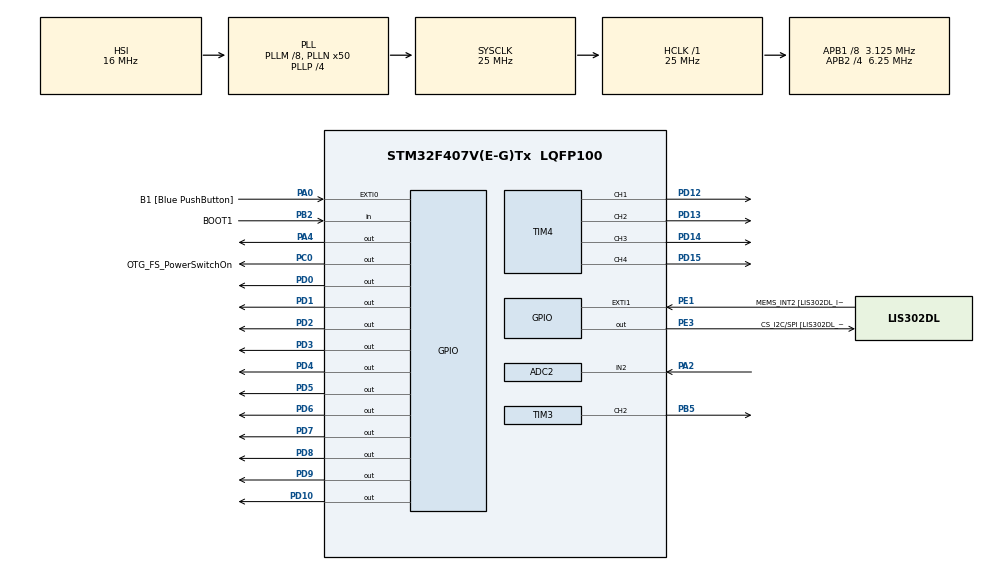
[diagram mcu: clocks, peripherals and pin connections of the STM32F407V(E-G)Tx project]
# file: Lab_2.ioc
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ADC2.Channel-0\#ChannelRegularConversion=ADC_CHANNEL_2
ADC2.ExternalTrigConv=ADC_EXTERNALTRIGCONV_T2_TRGO
ADC2.NbrOfConversionFlag=1
ADC2.Rank-0\#ChannelRegularConversion=1
ADC2.Resolution=ADC_RESOLUTION_8B
ADC2.SamplingTime-0\#ChannelRegularConversion=ADC_SAMPLETIME_3CYCLES
Mcu.Family=STM32F4
Mcu.Name=STM32F407V(E-G)Tx
Mcu.Package=LQFP100
NVIC.PriorityGroup=NVIC_PRIORITYGROUP_0
NVIC.TIM2_IRQn=true\:0\:0\:false\:false\:true
PA0-WKUP.GPIO_Label=B1 [Blue PushButton]
PA0-WKUP.GPIO_ModeDefaultEXTI=GPIO_MODE_EVT_RISING
PA0-WKUP.GPIO_PuPd=GPIO_NOPULL
PA0-WKUP.Signal=GPXTI0
PA10.GPIO_Label=OTG_FS_ID
PA10.GPIO_Mode=GPIO_MODE_AF_PP
PA10.GPIO_PuPd=GPIO_NOPULL
PA10.GPIO_Speed=GPIO_SPEED_FREQ_LOW
PA10.Signal=USB_OTG_FS_ID
PA11.GPIO_Label=OTG_FS_DM
PA11.GPIO_Mode=GPIO_MODE_AF_PP
PA11.GPIO_PuPd=GPIO_NOPULL
PA11.GPIO_Speed=GPIO_SPEED_FREQ_LOW
PA11.Signal=USB_OTG_FS_DM
PA12.GPIO_Label=OTG_FS_DP
PA12.GPIO_Mode=GPIO_MODE_AF_PP
PA12.GPIO_PuPd=GPIO_NOPULL
PA12.GPIO_Speed=GPIO_SPEED_FREQ_LOW
PA12.Signal=USB_OTG_FS_DP
PA13.GPIO_Label=SWDIO
PA13.Signal=SYS_JTMS-SWDIO
PA14.GPIO_Label=SWCLK
PA14.Signal=SYS_JTCK-SWCLK
PA2.Signal=ADCx_IN2
PA4.Signal=GPIO_Output
PA5.GPIO_Label=SPI1_SCK [LIS302DL_SCL/SPC]
PA5.GPIO_Mode=GPIO_MODE_AF_PP
PA5.GPIO_PuPd=GPIO_NOPULL
PA5.GPIO_Speed=GPIO_SPEED_FREQ_LOW
PA5.Signal=SPI1_SCK
PA6.GPIO_Label=SPI1_MISO [LIS302DL_SDO]
PA6.GPIO_Mode=GPIO_MODE_AF_PP
PA6.GPIO_PuPd=GPIO_NOPULL
PA6.GPIO_Speed=GPIO_SPEED_FREQ_LOW
PA6.Signal=SPI1_MISO
PA7.GPIO_Label=SPI1_MOSI [LIS302DL_SDA/SDI/SDO]
PA7.GPIO_Mode=GPIO_MODE_AF_PP
PA7.GPIO_PuPd=GPIO_NOPULL
PA7.GPIO_Speed=GPIO_SPEED_FREQ_LOW
PA7.Signal=SPI1_MOSI
PA9.GPIO_Label=VBUS_FS
PA9.GPIO_Mode=GPIO_MODE_INPUT
PA9.GPIO_PuPd=GPIO_NOPULL
PA9.Signal=USB_OTG_FS_VBUS
PB10.GPIO_Label=CLK_IN [MP45DT02_CLK]
PB10.GPIO_Mode=GPIO_MODE_AF_PP
PB10.GPIO_PuPd=GPIO_NOPULL
PB10.GPIO_Speed=GPIO_SPEED_FREQ_LOW
PB10.Signal=I2S2_CK
PB2.GPIO_Label=BOOT1
PB2.GPIO_Mode=GPIO_MODE_INPUT
PB2.GPIO_PuPd=GPIO_NOPULL
PB2.Signal=GPIO_Input
PB3.GPIO_Label=SWO
PB3.Signal=SYS_JTDO-SWO
PB5.Signal=S_TIM3_CH2
PC0.GPIO_Label=OTG_FS_PowerSwitchOn
PC0.GPIO_PuPd=GPIO_NOPULL
PC0.GPIO_Speed=GPIO_SPEED_FREQ_LOW
PC0.PinState=GPIO_PIN_SET
PC0.Signal=GPIO_Output
PC10.GPIO_Label=I2S3_SCK [CS43L22_SCLK]
PC10.GPIO_Mode=GPIO_MODE_AF_PP
PC10.GPIO_PuPd=GPIO_NOPULL
PC10.GPIO_Speed=GPIO_SPEED_FREQ_LOW
PC10.Signal=I2S3_CK
PC12.GPIO_Label=I2S3_SD [CS43L22_SDIN]
PC12.GPIO_Mode=GPIO_MODE_AF_PP
PC12.GPIO_PuPd=GPIO_NOPULL
PC12.GPIO_Speed=GPIO_SPEED_FREQ_LOW
PC12.Signal=I2S3_SD
PC14-OSC32_IN.GPIO_Label=PC14-OSC32_IN
PC14-OSC32_IN.Signal=RCC_OSC32_IN
PC15-OSC32_OUT.GPIO_Label=PC15-OSC32_OUT
PC15-OSC32_OUT.Signal=RCC_OSC32_OUT
PC3.GPIO_Label=PDM_OUT [MP45DT02_DOUT]
PC3.GPIO_Mode=GPIO_MODE_AF_PP
PC3.GPIO_PuPd=GPIO_NOPULL
PC3.GPIO_Speed=GPIO_SPEED_FREQ_LOW
PC3.Signal=I2S2_SD
PC7.GPIO_Label=I2S3_MCK [CS43L22_MCLK]
PC7.GPIO_Mode=GPIO_MODE_AF_PP
PC7.GPIO_PuPd=GPIO_NOPULL
PC7.GPIO_Speed=GPIO_SPEED_FREQ_LOW
PC7.Signal=I2S3_MCK
PD0.Signal=GPIO_Output
PD1.Signal=GPIO_Output
PD10.Signal=GPIO_Output
PD12.Signal=S_TIM4_CH1
PD13.Signal=S_TIM4_CH2
PD14.Signal=S_TIM4_CH3
PD15.Signal=S_TIM4_CH4
PD2.Signal=GPIO_Output
PD3.Signal=GPIO_Output
PD4.Signal=GPIO_Output
PD5.Signal=GPIO_Output
PD6.Signal=GPIO_Output
PD7.Signal=GPIO_Output
PD8.Signal=GPIO_Output
PD9.Signal=GPIO_Output
PE1.GPIO_Label=MEMS_INT2 [LIS302DL_INT2]
PE1.GPIO_ModeDefaultEXTI=GPIO_MODE_EVT_RISING
PE1.GPIO_PuPd=GPIO_NOPULL
PE1.Signal=GPXTI1
PE3.GPIO_Label=CS_I2C/SPI [LIS302DL_CS_I2C/SPI]
PE3.GPIO_PuPd=GPIO_NOPULL
PE3.GPIO_Speed=GPIO_SPEED_FREQ_LOW
PE3.Signal=GPIO_Output
PH0-OSC_IN.GPIO_Label=PH0-OSC_IN
PH0-OSC_IN.Signal=RCC_OSC_IN
PH1-OSC_OUT.GPIO_Label=PH1-OSC_OUT
PH1-OSC_OUT.Signal=RCC_OSC_OUT
ProjectManager.HeapSize=0x200
ProjectManager.StackSize=0x400
ProjectManager.TargetToolchain=MDK-ARM V5
RCC.48MHZClocksFreq_Value=14285714.285714285
RCC.AHBFreq_Value=25000000
RCC.APB1CLKDivider=RCC_HCLK_DIV8
RCC.APB1Freq_Value=3125000
RCC.APB1TimFreq_Value=6250000
RCC.APB2CLKDivider=RCC_HCLK_DIV4
RCC.APB2Freq_Value=6250000
RCC.APB2TimFreq_Value=12500000
RCC.CortexFreq_Value=25000000
RCC.HCLKFreq_Value=25000000
RCC.HSE_VALUE=8000000
RCC.HSI_VALUE=16000000
RCC.LSE_VALUE=32768
RCC.PLLM=8
RCC.PLLN=50
RCC.PLLP=RCC_PLLP_DIV4
RCC.PLLQ=7
RCC.SYSCLKFreq_VALUE=25000000
RCC.SYSCLKSource=RCC_SYSCLKSOURCE_PLLCLK
RCC.VCOOutputFreq_Value=100000000
SH.ADCx_IN2.0=ADC2_IN2,IN2
SH.S_TIM3_CH2.0=TIM3_CH2,PWM Generation2 CH2
SH.S_TIM4_CH1.0=TIM4_CH1,PWM Generation1 CH1
SH.S_TIM4_CH2.0=TIM4_CH2,PWM Generation2 CH2
SH.S_TIM4_CH3.0=TIM4_CH3,PWM Generation3 CH3
SH.S_TIM4_CH4.0=TIM4_CH4,PWM Generation4 CH4
TIM2.Period=10
TIM2.Prescaler=6250
TIM2.TIM_MasterOutputTrigger=TIM_TRGO_UPDATE
TIM3.Channel-PWM\ Generation2\ CH2=TIM_CHANNEL_2
TIM4.Channel-PWM\ Generation1\ CH1=TIM_CHANNEL_1
TIM4.Channel-PWM\ Generation2\ CH2=TIM_CHANNEL_2
TIM4.Channel-PWM\ Generation3\ CH3=TIM_CHANNEL_3
TIM4.Channel-PWM\ Generation4\ CH4=TIM_CHANNEL_4
VP_TIM2_VS_ClockSourceINT.Mode=Internal
VP_TIM3_VS_ClockSourceINT.Mode=Internal
board=STM32F4DISCOVERY

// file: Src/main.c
/**
  ******************************************************************************
  * File Name          : main.c
  * Description        : Main program body
  ******************************************************************************
  ** This notice applies to any and all portions of this file
  * that are not between comment pairs USER CODE BEGIN and
  * USER CODE END. Other portions of this file, whether
  * inserted by the user or by software development tools
  * are owned by their respective copyright owners.
  *
  * COPYRIGHT(c) 2017 STMicroelectronics
  *
  * Redistribution and use in source and binary forms, with or without modification,
  * are permitted provided that the following conditions are met:
  *   1. Redistributions of source code must retain the above copyright notice,
  *      this list of conditions and the following disclaimer.
  *   2. Redistributions in binary form must reproduce the above copyright notice,
  *      this list of conditions and the following disclaimer in the documentation
  *      and/or other materials provided with the distribution.
  *   3. Neither the name of STMicroelectronics nor the names of its contributors
  *      may be used to endorse or promote products derived from this software
  *      without specific prior written permission.
  *
  * THIS SOFTWARE IS PROVIDED BY THE COPYRIGHT HOLDERS AND CONTRIBUTORS "AS IS"
  * AND ANY EXPRESS OR IMPLIED WARRANTIES, INCLUDING, BUT NOT LIMITED TO, THE
  * IMPLIED WARRANTIES OF MERCHANTABILITY AND FITNESS FOR A PARTICULAR PURPOSE ARE
  * DISCLAIMED. IN NO EVENT SHALL THE COPYRIGHT HOLDER OR CONTRIBUTORS BE LIABLE
  * FOR ANY DIRECT, INDIRECT, INCIDENTAL, SPECIAL, EXEMPLARY, OR CONSEQUENTIAL
  * DAMAGES (INCLUDING, BUT NOT LIMITED TO, PROCUREMENT OF SUBSTITUTE GOODS OR
  * SERVICES; LOSS OF USE, DATA, OR PROFITS; OR BUSINESS INTERRUPTION) HOWEVER
  * CAUSED AND ON ANY THEORY OF LIABILITY, WHETHER IN CONTRACT, STRICT LIABILITY,
  * OR TORT (INCLUDING NEGLIGENCE OR OTHERWISE) ARISING IN ANY WAY OUT OF THE USE
  * OF THIS SOFTWARE, EVEN IF ADVISED OF THE POSSIBILITY OF SUCH DAMAGE.
  *
  ******************************************************************************
  */
#include "main.h"
#include "stm32f4xx_hal.h"
#include "adc.h"
#include "tim.h"
#include "gpio.h"

/* USER CODE BEGIN PV */
/* Private variables ---------------------------------------------------------*/

	// CONSTANT VALUE FOR THE REFERENCE VOLTAGE OF THE ADC.
	double vREF = 3.0;

	// THIS VARIABLE KEEPS TRACK OF THE CURRENT ADC SAMPLE.
	int currentADCValue;

	// THIS VARIABLE KEEPS TRACK OF THE CURRENT MEASURED VOLTAGE (AFTER DAC CONVERSION).
	double currentAnalogVoltage;

	// CONSTANT VALUE FOR THE SIZE OF THE WINDOW.
	int windowSize = 1000;

	// BUFFER FOR THE LAST N SAMPLES, WHERE N IS THE WINDOW SIZE.
	double buffer[1000];

	// FLAG THAT KEEP TRACK OF WHETHER OR NOT THE BUFFER IS FULL (0 = NO, 1 = YES).
	int bufferFull = 0;

	// THIS VARIABLE KEEPS TRACK OF THE ACCUMULATOR VALUE FOR THE PAST N SAMPLES, WHERE N IS THE WINDOW SIZE.
	double accumulator;

	// THIS VARIABLE KEEPS TRACK OF THE SAMPLE NUMBER. IT GETS RESET AFTER EACH N SAMPLES, WHERE N IS THE WINDOW SIZE.
  int sampleCounter = 0;

	// THIS VARIABLE KEEPS TRACK OF WHEN TO TOGGLE THE SQUARE WAVE. IT GETS RESET EVERY 10 MS.
  int squareWaveCounter = 0;

	// THIS VARIABLE KEEPS TRACK OF WHICH DIGIT OF THE LED DISPLAY SHOULD BE LIT UP.
	int digitCounter = 0;

	// THIS ARRAY KEEPS TRACK OF THE VALUE OF THE THREE DIGITS TO DISPLAY (IN THE FORMAT X.XX).
  int digitArray[3] = {1,2,3};

	// THIS VARIABLE KEEPS TRACK OF THE CURRENT MEASURED VALUE OF THE RMS VOLTAGE.
	double vRMS;

/* USER CODE END PV */

void SystemClock_Config(void);

/* USER CODE BEGIN PFP */
/* Private function prototypes -----------------------------------------------*/

/* USER CODE END PFP */

int main(void)
{

  /* MCU Configuration----------------------------------------------------------*/

  /* Reset of all peripherals, Initializes the Flash interface and the Systick. */
  HAL_Init();

  /* Configure the system clock */
  SystemClock_Config();

  /* Initialize all configured peripherals */
  MX_GPIO_Init();
  MX_ADC2_Init();
  MX_TIM2_Init();
  MX_TIM3_Init();
  MX_TIM4_Init();

  /* USER CODE BEGIN 2 */
	HAL_TIM_PWM_Start(&htim4,TIM_CHANNEL_2);
	// Step (1): Start the Timer as interrupt.
	HAL_TIM_Base_Start_IT(&htim2);
  HAL_TIM_Base_Start_IT(&htim3);
	// Step (2): Start the ADC.
	HAL_ADC_Start(&hadc2);

  /* USER CODE END 2 */

  /* Infinite loop */
  while (1)
  {

  }

}

/** System Clock Configuration
*/
void SystemClock_Config(void)
{

  RCC_OscInitTypeDef RCC_OscInitStruct;
  RCC_ClkInitTypeDef RCC_ClkInitStruct;

    /**Configure the main internal regulator output voltage
    */
  __HAL_RCC_PWR_CLK_ENABLE();

  __HAL_PWR_VOLTAGESCALING_CONFIG(PWR_REGULATOR_VOLTAGE_SCALE1);

    /**Initializes the CPU, AHB and APB busses clocks
    */
  RCC_OscInitStruct.OscillatorType = RCC_OSCILLATORTYPE_HSI;
  RCC_OscInitStruct.HSIState = RCC_HSI_ON;
  RCC_OscInitStruct.HSICalibrationValue = 16;
  RCC_OscInitStruct.PLL.PLLState = RCC_PLL_ON;
  RCC_OscInitStruct.PLL.PLLSource = RCC_PLLSOURCE_HSI;
  RCC_OscInitStruct.PLL.PLLM = 8;
  RCC_OscInitStruct.PLL.PLLN = 50;
  RCC_OscInitStruct.PLL.PLLP = RCC_PLLP_DIV4;
  RCC_OscInitStruct.PLL.PLLQ = 7;
  if (HAL_RCC_OscConfig(&RCC_OscInitStruct) != HAL_OK)
  {
    _Error_Handler(__FILE__, __LINE__);
  }

    /**Initializes the CPU, AHB and APB busses clocks
    */
  RCC_ClkInitStruct.ClockType = RCC_CLOCKTYPE_HCLK|RCC_CLOCKTYPE_SYSCLK
                              |RCC_CLOCKTYPE_PCLK1|RCC_CLOCKTYPE_PCLK2;
  RCC_ClkInitStruct.SYSCLKSource = RCC_SYSCLKSOURCE_PLLCLK;
  RCC_ClkInitStruct.AHBCLKDivider = RCC_SYSCLK_DIV1;
  RCC_ClkInitStruct.APB1CLKDivider = RCC_HCLK_DIV8;
  RCC_ClkInitStruct.APB2CLKDivider = RCC_HCLK_DIV4;

  if (HAL_RCC_ClockConfig(&RCC_ClkInitStruct, FLASH_LATENCY_0) != HAL_OK)
  {
    _Error_Handler(__FILE__, __LINE__);
  }

    /**Configure the Systick interrupt time
    */
  HAL_SYSTICK_Config(HAL_RCC_GetHCLKFreq()/1000);

    /**Configure the Systick
    */
  HAL_SYSTICK_CLKSourceConfig(SYSTICK_CLKSOURCE_HCLK);

  /* SysTick_IRQn interrupt configuration */
  HAL_NVIC_SetPriority(SysTick_IRQn, 0, 0);
}

/* USER CODE BEGIN 4 */

void HAL_ADC_ConvCpltCallback(ADC_HandleTypeDef* hadc)
{

}

void HAL_TIM_PeriodElapsedCallback(TIM_HandleTypeDef *htim)
{
	// TIMER 2: This gets called every 1 ms.
  if(htim == &htim2)
  {
		// Get the previous sample of the ADC (since ADC conversion is in process).
		currentADCValue = HAL_ADC_GetValue(&hadc2);

		// Check for unexpected spikes and prevent them if they occur.
		currentADCValue = preventUnexpectedSpike(currentADCValue);

		// Convert the ADC value to an analog value.
		double voltageValue = (currentADCValue * vREF) / 255;

		// If the buffer has not been filled...
		if((sampleCounter < windowSize) && (bufferFull == 0))
		{
			// 1. Update the accumalor.
			accumulator += voltageValue * voltageValue;

			// 2. Check for accumulator overflow or underflow and prevent them if they occur.
			accumulator = preventAccumulatorOverflowOrUnderflow(accumulator, windowSize * vREF * vREF);

			// 3. Update the buffer.
			buffer[sampleCounter] = voltageValue;
		}
		// Otherwise if the buffer has been filled...
		else
		{
			// 1. Update the accumalor.
			accumulator = accumulator - (buffer[sampleCounter] * buffer[sampleCounter]) + (voltageValue * voltageValue);

			// 2. Check for accumulator overflow or underflow and prevent them if they occur.
			accumulator = preventAccumulatorOverflowOrUnderflow(accumulator, windowSize * vREF * vREF);

			// 3. Update the buffer.
			buffer[sampleCounter] = voltageValue;
		}

		// Increment the sample counter.
		sampleCounter++;

		// If the sample counter has reached the window size, set the bufferFull flag to 1 and reset the counter.
		if(sampleCounter == windowSize)
		{
			bufferFull = 1;
			sampleCounter = 0;
		}

		// Every N ms, where N is the window size, compute a new RMS voltage and update the array that contains the digits to be displayed.
		if(sampleCounter == 0)
		{
			vRMS = sqrt(accumulator / windowSize);
			printf("RMS Voltage: %f\n", vRMS);

			// The RMS voltage has the form A.BCDEF...
			// Retrive digit A and put it in digitArray[0].
			digitArray[0] = (int) vRMS;

			// Retrive digit B and put it in digitArray[1].
			digitArray[1] = ((int)(vRMS * 10)) % 10;

			// Retrive digit C and put it in digitArray[2].
			digitArray[2] = ((int)(vRMS * 100)) % 10;
		}
  }
	// TIMER 3: This gets called every 5 ms.
  else if(htim == &htim3)
  {
		// Generate a 50 Hz square wave with an amplitude of 3V.
    squareWaveCounter = (squareWaveCounter + 1) % 2;
    if(squareWaveCounter == 0)
    {
      HAL_GPIO_TogglePin(GPIOA, GPIO_PIN_4);
    }

    // Refresh the segment display and update the digit counter.
    displayNumberOnTrgtDigit(digitArray[digitCounter], (digitCounter + 1) );
    digitCounter = (digitCounter + 1) % 3;
  }
}

// This function prevents unexpected spike in input value.
int preventUnexpectedSpike(int currentADCValue)
{
		if(currentADCValue < 0)
		{
			return 0;
		}
		else if(currentADCValue > 255)
		{
			return 255;
		}
		else
		{
			return currentADCValue;
		}
}

// This function prevents accumulator overflow/underflow.
double preventAccumulatorOverflowOrUnderflow(double accumulator, double maxValue)
{
	if(accumulator < 0)
	{
		return 0;
	}
	else if(accumulator > maxValue)
	{
		return maxValue;
	}
	else
	{
		return accumulator;
	}
}

// This function selects the provided number to be lit up (selects the right segments of the 7-segment display).
void displayNumberOn7Segment(int number)
{
    switch(number)
    {
      case 0:
        HAL_GPIO_WritePin(GPIOD, GPIO_PIN_0, GPIO_PIN_SET); //A
        HAL_GPIO_WritePin(GPIOD, GPIO_PIN_1, GPIO_PIN_SET); //B
        HAL_GPIO_WritePin(GPIOD, GPIO_PIN_2, GPIO_PIN_SET); //C
        HAL_GPIO_WritePin(GPIOD, GPIO_PIN_3, GPIO_PIN_SET); //D
        HAL_GPIO_WritePin(GPIOD, GPIO_PIN_4, GPIO_PIN_SET); //E
        HAL_GPIO_WritePin(GPIOD, GPIO_PIN_5, GPIO_PIN_SET); //F
        HAL_GPIO_WritePin(GPIOD, GPIO_PIN_6, GPIO_PIN_RESET); //G
        break;

      case 1:
        HAL_GPIO_WritePin(GPIOD, GPIO_PIN_0, GPIO_PIN_RESET); //A
        HAL_GPIO_WritePin(GPIOD, GPIO_PIN_1, GPIO_PIN_SET); //B
        HAL_GPIO_WritePin(GPIOD, GPIO_PIN_2, GPIO_PIN_SET); //C
        HAL_GPIO_WritePin(GPIOD, GPIO_PIN_3, GPIO_PIN_RESET); //D
        HAL_GPIO_WritePin(GPIOD, GPIO_PIN_4, GPIO_PIN_RESET); //E
        HAL_GPIO_WritePin(GPIOD, GPIO_PIN_5, GPIO_PIN_RESET); //F
        HAL_GPIO_WritePin(GPIOD, GPIO_PIN_6, GPIO_PIN_RESET); //G
        break;

      case 2:
        HAL_GPIO_WritePin(GPIOD, GPIO_PIN_0, GPIO_PIN_SET); //A
        HAL_GPIO_WritePin(GPIOD, GPIO_PIN_1, GPIO_PIN_SET); //B
        HAL_GPIO_WritePin(GPIOD, GPIO_PIN_2, GPIO_PIN_RESET); //C
        HAL_GPIO_WritePin(GPIOD, GPIO_PIN_3, GPIO_PIN_SET); //D
        HAL_GPIO_WritePin(GPIOD, GPIO_PIN_4, GPIO_PIN_SET); //E
        HAL_GPIO_WritePin(GPIOD, GPIO_PIN_5, GPIO_PIN_RESET); //F
        HAL_GPIO_WritePin(GPIOD, GPIO_PIN_6, GPIO_PIN_SET); //G
        break;

      case 3:
        HAL_GPIO_WritePin(GPIOD, GPIO_PIN_0, GPIO_PIN_SET); //A
        HAL_GPIO_WritePin(GPIOD, GPIO_PIN_1, GPIO_PIN_SET); //B
        HAL_GPIO_WritePin(GPIOD, GPIO_PIN_2, GPIO_PIN_SET); //C
        HAL_GPIO_WritePin(GPIOD, GPIO_PIN_3, GPIO_PIN_SET); //D
        HAL_GPIO_WritePin(GPIOD, GPIO_PIN_4, GPIO_PIN_RESET); //E
        HAL_GPIO_WritePin(GPIOD, GPIO_PIN_5, GPIO_PIN_RESET); //F
        HAL_GPIO_WritePin(GPIOD, GPIO_PIN_6, GPIO_PIN_SET); //G
        break;

      case 4:
        HAL_GPIO_WritePin(GPIOD, GPIO_PIN_0, GPIO_PIN_RESET); //A
        HAL_GPIO_WritePin(GPIOD, GPIO_PIN_1, GPIO_PIN_SET); //B
        HAL_GPIO_WritePin(GPIOD, GPIO_PIN_2, GPIO_PIN_SET); //C
        HAL_GPIO_WritePin(GPIOD, GPIO_PIN_3, GPIO_PIN_RESET); //D
        HAL_GPIO_WritePin(GPIOD, GPIO_PIN_4, GPIO_PIN_RESET); //E
        HAL_GPIO_WritePin(GPIOD, GPIO_PIN_5, GPIO_PIN_SET); //F
        HAL_GPIO_WritePin(GPIOD, GPIO_PIN_6, GPIO_PIN_SET); //G
        break;

      case 5:
        HAL_GPIO_WritePin(GPIOD, GPIO_PIN_0, GPIO_PIN_SET); //A
        HAL_GPIO_WritePin(GPIOD, GPIO_PIN_1, GPIO_PIN_RESET); //B
        HAL_GPIO_WritePin(GPIOD, GPIO_PIN_2, GPIO_PIN_SET); //C
        HAL_GPIO_WritePin(GPIOD, GPIO_PIN_3, GPIO_PIN_SET); //D
        HAL_GPIO_WritePin(GPIOD, GPIO_PIN_4, GPIO_PIN_RESET); //E
        HAL_GPIO_WritePin(GPIOD, GPIO_PIN_5, GPIO_PIN_SET); //F
        HAL_GPIO_WritePin(GPIOD, GPIO_PIN_6, GPIO_PIN_SET); //G
        break;

      case 6:
        HAL_GPIO_WritePin(GPIOD, GPIO_PIN_0, GPIO_PIN_SET); //A
        HAL_GPIO_WritePin(GPIOD, GPIO_PIN_1, GPIO_PIN_RESET); //B
        HAL_GPIO_WritePin(GPIOD, GPIO_PIN_2, GPIO_PIN_SET); //C
        HAL_GPIO_WritePin(GPIOD, GPIO_PIN_3, GPIO_PIN_SET); //D
        HAL_GPIO_WritePin(GPIOD, GPIO_PIN_4, GPIO_PIN_SET); //E
        HAL_GPIO_WritePin(GPIOD, GPIO_PIN_5, GPIO_PIN_SET); //F
        HAL_GPIO_WritePin(GPIOD, GPIO_PIN_6, GPIO_PIN_SET); //G
        break;

      case 7:
        HAL_GPIO_WritePin(GPIOD, GPIO_PIN_0, GPIO_PIN_SET); //A
        HAL_GPIO_WritePin(GPIOD, GPIO_PIN_1, GPIO_PIN_SET); //B
        HAL_GPIO_WritePin(GPIOD, GPIO_PIN_2, GPIO_PIN_SET); //C
        HAL_GPIO_WritePin(GPIOD, GPIO_PIN_3, GPIO_PIN_RESET); //D
        HAL_GPIO_WritePin(GPIOD, GPIO_PIN_4, GPIO_PIN_RESET); //E
        HAL_GPIO_WritePin(GPIOD, GPIO_PIN_5, GPIO_PIN_RESET); //F
        HAL_GPIO_WritePin(GPIOD, GPIO_PIN_6, GPIO_PIN_RESET); //G
        break;

      case 8:
        HAL_GPIO_WritePin(GPIOD, GPIO_PIN_0, GPIO_PIN_SET); //A
        HAL_GPIO_WritePin(GPIOD, GPIO_PIN_1, GPIO_PIN_SET); //B
        HAL_GPIO_WritePin(GPIOD, GPIO_PIN_2, GPIO_PIN_SET); //C
        HAL_GPIO_WritePin(GPIOD, GPIO_PIN_3, GPIO_PIN_SET); //D
        HAL_GPIO_WritePin(GPIOD, GPIO_PIN_4, GPIO_PIN_SET); //E
        HAL_GPIO_WritePin(GPIOD, GPIO_PIN_5, GPIO_PIN_SET); //F
        HAL_GPIO_WritePin(GPIOD, GPIO_PIN_6, GPIO_PIN_SET); //G
        break;

      case 9:
        HAL_GPIO_WritePin(GPIOD, GPIO_PIN_0, GPIO_PIN_SET); //A
        HAL_GPIO_WritePin(GPIOD, GPIO_PIN_1, GPIO_PIN_SET); //B
        HAL_GPIO_WritePin(GPIOD, GPIO_PIN_2, GPIO_PIN_SET); //C
        HAL_GPIO_WritePin(GPIOD, GPIO_PIN_3, GPIO_PIN_SET); //D
        HAL_GPIO_WritePin(GPIOD, GPIO_PIN_4, GPIO_PIN_RESET); //E
        HAL_GPIO_WritePin(GPIOD, GPIO_PIN_5, GPIO_PIN_SET); //F
        HAL_GPIO_WritePin(GPIOD, GPIO_PIN_6, GPIO_PIN_SET); //G
        break;
    }
}

// This function selects the provided digit to be lit up.
void selectTrgt7SegmentDisplayDigit(int trgtDigit)
{
  switch(trgtDigit)
  {
    case 1:
      HAL_GPIO_WritePin(GPIOD, GPIO_PIN_8, GPIO_PIN_RESET);
      HAL_GPIO_WritePin(GPIOD, GPIO_PIN_9, GPIO_PIN_SET);
      HAL_GPIO_WritePin(GPIOD, GPIO_PIN_10, GPIO_PIN_SET);

      HAL_GPIO_WritePin(GPIOD, GPIO_PIN_7, GPIO_PIN_SET); // Light up Decimal point
      break;

    case 2:
      HAL_GPIO_WritePin(GPIOD, GPIO_PIN_8, GPIO_PIN_SET);
      HAL_GPIO_WritePin(GPIOD, GPIO_PIN_9, GPIO_PIN_RESET);
      HAL_GPIO_WritePin(GPIOD, GPIO_PIN_10, GPIO_PIN_SET);

      HAL_GPIO_WritePin(GPIOD, GPIO_PIN_7, GPIO_PIN_RESET); // Shut down Decimal point
      break;

    case 3:
      HAL_GPIO_WritePin(GPIOD, GPIO_PIN_8, GPIO_PIN_SET);
      HAL_GPIO_WritePin(GPIOD, GPIO_PIN_9, GPIO_PIN_SET);
      HAL_GPIO_WritePin(GPIOD, GPIO_PIN_10, GPIO_PIN_RESET);

      HAL_GPIO_WritePin(GPIOD, GPIO_PIN_7, GPIO_PIN_RESET); // Shut down Decimal point
      break;
  }
}

// This function lits up the provided number on the provided digit.
void displayNumberOnTrgtDigit(int number, int trgtDigit)
{
  selectTrgt7SegmentDisplayDigit(trgtDigit);
  displayNumberOn7Segment(number);
}

/* USER CODE END 4 */

void _Error_Handler(char * file, int line)
{
  while(1)
  {
  }
}

/************************ (C) COPYRIGHT STMicroelectronics *****END OF FILE****/
